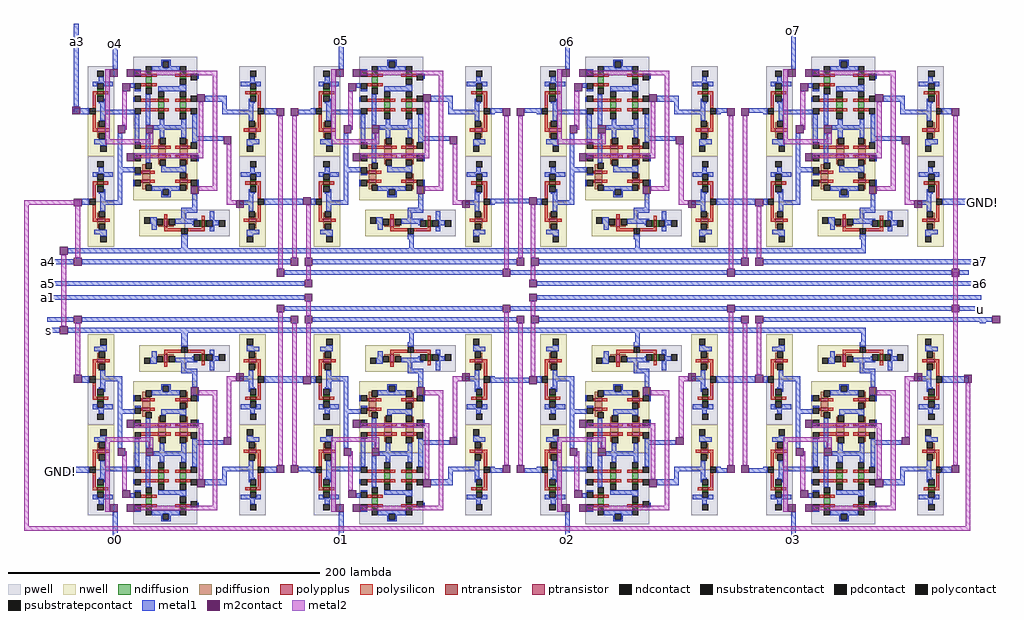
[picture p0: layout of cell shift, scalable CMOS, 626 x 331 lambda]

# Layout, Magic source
magic
tech scmos
<< metal1 >>
rect 3 275 6 328
rect 28 309 31 316
rect 173 311 176 318
rect 318 310 321 317
rect 463 311 466 324
rect 576 212 588 216
rect -1 181 3 184
rect -14 174 0 177
rect 577 174 585 177
rect -14 160 0 163
rect 577 160 585 163
rect -14 151 0 154
rect 577 151 585 154
rect 577 144 585 147
rect -14 137 0 140
rect 577 137 592 140
rect 584 136 588 137
rect -14 130 -6 133
rect -1 130 3 133
rect -6 40 3 44
rect 28 -3 31 5
rect 173 -3 176 5
rect 318 -3 321 5
rect 463 -3 466 5
<< m2contact >>
rect 2 270 7 275
rect -6 180 -1 185
rect 592 136 597 141
rect -6 129 -1 134
rect 574 98 579 103
<< metal2 >>
rect -29 212 7 215
rect -29 6 -26 212
rect 4 208 7 212
rect -5 134 -2 180
rect 567 140 570 169
rect 575 6 578 98
rect -29 3 578 6
use shift4  shift4_0
transform 1 0 10 0 1 7
box -10 -7 567 148
use shift4  shift4_1
transform 1 0 10 0 -1 307
box -10 -7 567 148
<< labels >>
rlabel metal1 585 213 587 214 3 GND!
rlabel metal1 -6 40 -5 42 1 GND!
rlabel metal1 -14 131 -13 132 7 s
rlabel metal1 -14 138 -13 139 7 a0
rlabel metal1 -14 152 -13 153 7 a1
rlabel metal1 584 144 585 146 3 u
rlabel metal1 -14 161 -13 162 7 a5
rlabel metal1 584 161 585 162 3 a6
rlabel metal1 584 175 585 176 3 a7
rlabel metal1 29 -3 30 -2 5 o0
rlabel metal1 174 -3 175 -2 5 o1
rlabel metal1 319 -3 320 -2 5 o2
rlabel metal1 464 -3 465 -2 5 o3
rlabel metal1 29 315 30 316 1 o4
rlabel metal1 174 317 175 318 5 o5
rlabel metal1 319 316 320 317 1 o6
rlabel metal1 584 151 585 154 3 a2
rlabel metal1 464 323 465 324 1 o7
rlabel metal1 585 136 586 137 1 a3
rlabel metal1 -14 175 -13 176 7 a4
rlabel metal1 4 315 6 318 1 a3
<< end >>

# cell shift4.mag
magic
tech scmos
<< metal1 >>
rect -10 144 141 147
rect 290 144 567 147
rect 128 137 268 140
rect 273 137 412 140
rect 417 137 556 140
rect 561 137 567 140
rect -10 130 -7 133
rect -2 130 132 133
rect 146 130 277 133
rect 291 130 421 133
rect 435 130 567 133
rect -10 123 501 126
rect 62 116 66 123
rect 208 116 211 123
rect 353 116 356 123
rect 498 116 501 123
rect -2 91 0 95
rect 118 91 140 95
rect 262 91 285 94
rect 408 91 430 95
rect 553 91 567 95
rect -7 33 2 37
rect 116 33 123 37
rect 137 34 146 37
rect 263 33 268 36
rect 282 33 293 36
rect 407 33 412 36
rect 426 33 438 36
rect 549 33 556 37
rect 18 -2 21 5
rect 163 -5 166 7
rect 308 -3 311 7
rect 453 -7 456 7
<< m2contact >>
rect 141 143 146 148
rect 285 143 290 148
rect 123 136 128 141
rect 268 136 273 141
rect 412 136 417 141
rect 556 136 561 141
rect -7 129 -2 134
rect 132 129 137 134
rect 141 129 146 134
rect 277 129 282 134
rect 286 129 291 134
rect 421 129 426 134
rect 430 129 435 134
rect -7 91 -2 96
rect 140 90 145 95
rect 285 90 290 95
rect 430 91 435 96
rect 123 33 128 38
rect 132 33 137 38
rect 268 33 273 38
rect 277 33 282 38
rect 412 33 417 38
rect 421 33 426 38
rect 556 33 561 38
<< metal2 >>
rect -6 96 -3 129
rect 124 38 127 136
rect 142 134 145 143
rect 133 38 136 129
rect 142 95 145 129
rect 269 38 272 136
rect 286 134 289 143
rect 278 38 281 129
rect 286 95 289 129
rect 413 38 416 136
rect 422 38 425 129
rect 431 96 434 129
rect 557 38 560 136
use shift_one  shift_one_0
transform 1 0 20 0 1 37
box -20 -37 98 85
use shift_one  shift_one_1
transform 1 0 165 0 1 37
box -20 -37 98 85
use shift_one  shift_one_2
transform 1 0 310 0 1 37
box -20 -37 98 85
use shift_one  shift_one_3
transform 1 0 455 0 1 37
box -20 -37 98 85
<< labels >>
rlabel metal1 -10 124 -9 125 3 s
rlabel metal1 19 -2 19 -2 1 o0
rlabel metal1 163 -5 166 -2 1 o1
rlabel metal1 309 -2 309 -2 1 o2
rlabel metal1 454 -6 455 -5 1 o3
rlabel metal1 561 137 567 140 3 u
rlabel metal1 -10 131 -9 132 7 a0
rlabel metal1 -10 145 -9 145 7 a1
rlabel metal1 566 145 567 145 3 a2
rlabel metal1 566 131 567 131 3 a3
rlabel metal1 566 92 567 93 7 ci
rlabel metal1 -7 34 -6 35 3 ci
<< end >>

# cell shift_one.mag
magic
tech scmos
<< nwell >>
rect 11 9 52 55
<< pwell >>
rect 11 -37 52 9
<< ntransistor >>
rect 27 -4 31 -2
rect 41 -4 45 -2
rect 27 -10 31 -8
rect 41 -10 45 -8
rect 19 -20 23 -18
rect 19 -26 23 -24
rect 41 -26 45 -24
<< ptransistor >>
rect 17 42 22 44
rect 41 42 46 44
rect 17 36 22 38
rect 27 26 32 28
rect 41 26 46 28
rect 27 20 32 22
rect 41 20 46 22
<< ndiffusion >>
rect 27 -2 31 -1
rect 41 -2 45 -1
rect 27 -8 31 -4
rect 41 -8 45 -4
rect 27 -11 31 -10
rect 41 -11 45 -10
rect 19 -18 23 -17
rect 19 -24 23 -20
rect 41 -24 45 -23
rect 19 -27 23 -26
rect 41 -27 45 -26
<< pdiffusion >>
rect 17 45 19 48
rect 45 45 46 48
rect 17 44 22 45
rect 41 44 46 45
rect 17 38 22 42
rect 41 41 46 42
rect 45 38 46 41
rect 17 35 22 36
rect 17 32 19 35
rect 27 29 28 32
rect 27 28 32 29
rect 45 29 46 32
rect 41 28 46 29
rect 27 22 32 26
rect 41 22 46 26
rect 27 19 32 20
rect 27 16 28 19
rect 41 19 46 20
rect 45 16 46 19
<< ndcontact >>
rect 27 -1 31 3
rect 41 -1 45 3
rect 19 -17 23 -13
rect 27 -15 31 -11
rect 41 -15 45 -11
rect 41 -23 45 -19
rect 19 -31 23 -27
rect 41 -31 45 -27
<< pdcontact >>
rect 19 45 23 49
rect 41 45 45 49
rect 41 37 45 41
rect 19 31 23 35
rect 28 29 32 33
rect 41 29 45 33
rect 28 15 32 19
rect 41 15 45 19
<< psubstratepcontact >>
rect 30 -34 34 -30
<< nsubstratencontact >>
rect 30 48 34 52
<< polysilicon >>
rect 16 42 17 44
rect 22 42 25 44
rect 38 42 41 44
rect 46 42 48 44
rect 16 36 17 38
rect 22 36 25 38
rect 16 26 27 28
rect 32 26 35 28
rect 38 26 39 28
rect 46 26 48 28
rect 16 20 27 22
rect 32 20 35 22
rect 38 20 41 22
rect 46 20 48 22
rect 16 -4 27 -2
rect 31 -4 34 -2
rect 38 -4 41 -2
rect 45 -4 48 -2
rect 16 -10 27 -8
rect 31 -10 34 -8
rect 38 -10 41 -8
rect 45 -10 48 -8
rect 16 -20 19 -18
rect 23 -20 26 -18
rect 16 -26 19 -24
rect 23 -26 26 -24
rect 38 -26 41 -24
rect 45 -26 48 -24
<< polycontact >>
rect 12 42 16 46
rect 48 42 52 46
rect 12 34 16 38
rect 12 26 16 30
rect 48 26 52 30
rect 12 18 16 22
rect 48 18 52 22
rect 12 -4 16 0
rect 48 -4 52 0
rect 12 -12 16 -8
rect 12 -20 16 -16
rect 48 -12 52 -8
rect 12 -28 16 -24
rect 48 -26 52 -22
<< polypplus >>
rect 39 26 41 28
<< metal1 >>
rect 42 77 46 80
rect 42 60 52 63
rect -20 54 -17 58
rect -1 55 4 58
rect 1 37 4 55
rect 29 52 35 53
rect 29 49 30 52
rect 11 42 12 46
rect 23 48 30 49
rect 34 49 35 52
rect 49 51 52 60
rect 95 54 98 58
rect 34 48 41 49
rect 23 46 41 48
rect 52 42 53 46
rect 12 38 16 39
rect 1 34 12 37
rect 1 12 4 34
rect 29 34 45 37
rect 29 33 32 34
rect 12 0 15 18
rect 19 12 22 31
rect 41 33 45 34
rect 52 26 53 30
rect 28 10 31 15
rect 42 10 45 15
rect 24 7 45 10
rect -20 -4 -17 0
rect -3 -3 12 0
rect 11 -11 12 -8
rect 19 -13 22 7
rect 28 3 31 7
rect 42 3 45 7
rect 49 17 52 18
rect 49 14 69 17
rect 49 0 52 14
rect 68 -3 80 0
rect 95 -1 98 0
rect 68 -8 71 -3
rect 96 -4 98 -1
rect 12 -16 16 -15
rect 9 -20 12 -17
rect 57 -12 71 -8
rect 27 -18 45 -15
rect 41 -19 45 -18
rect 52 -26 53 -23
rect 12 -29 16 -28
rect -2 -33 1 -29
rect 23 -30 41 -28
rect 23 -31 30 -30
rect 29 -34 30 -31
rect 34 -31 41 -30
rect 34 -34 35 -31
rect 29 -35 35 -34
<< m2contact >>
rect 77 55 82 60
rect 48 46 53 51
rect 7 25 12 30
rect 1 7 6 12
rect 19 7 24 12
rect 69 14 74 19
rect 4 -20 9 -15
rect 52 -13 57 -8
rect -4 -29 1 -24
rect 7 -29 12 -24
<< metal2 >>
rect 71 55 77 58
rect 53 46 65 49
rect 12 25 56 28
rect -7 16 24 19
rect -7 -29 -4 16
rect 21 12 24 16
rect 6 7 7 10
rect 4 -15 7 7
rect 53 -8 56 25
rect 62 -25 65 46
rect 71 19 74 55
rect 12 -28 65 -25
use inv2  inv2_1
transform 0 -1 39 -1 0 70
box -8 -34 9 24
use inv2  inv2_3
transform -1 0 88 0 1 61
box -8 -34 9 24
use inv2  inv2_2
transform -1 0 88 0 1 3
box -8 -34 9 24
use inv2  inv2_0
transform 1 0 -10 0 1 61
box -8 -34 9 24
use inv2  inv2_4
transform 1 0 -10 0 1 3
box -8 -34 9 24
<< labels >>
rlabel metal1 11 42 12 45 7 s
rlabel metal1 11 -11 12 -8 7 u
rlabel metal1 52 -26 53 -23 3 s
rlabel metal1 52 26 53 29 3 u
rlabel metal1 42 77 46 80 1 s
rlabel metal1 96 -4 98 0 3 u
rlabel metal1 95 54 98 58 3 ad
rlabel metal1 -20 54 -17 58 7 a
rlabel metal1 -20 -4 -17 0 7 au
rlabel metal1 -2 -33 1 -29 5 o
rlabel metal1 28 -30 37 -29 1 GND!
rlabel nwell 23 46 41 49 1 Vdd!
<< end >>

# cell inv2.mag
magic
tech scmos
<< nwell >>
rect -8 -5 9 24
<< pwell >>
rect -8 -34 9 -5
<< ntransistor >>
rect -2 -18 2 -16
<< ptransistor >>
rect -2 6 3 8
<< ndiffusion >>
rect -2 -16 2 -15
rect -2 -19 2 -18
<< pdiffusion >>
rect -2 9 -1 12
rect -2 8 3 9
rect -2 5 3 6
rect -2 2 -1 5
<< ndcontact >>
rect -2 -15 2 -11
rect -2 -23 2 -19
<< pdcontact >>
rect -1 9 3 13
rect -1 1 3 5
<< psubstratepcontact >>
rect -2 -31 2 -27
<< nsubstratencontact >>
rect 0 17 4 21
<< polysilicon >>
rect -5 6 -2 8
rect 3 6 6 8
rect -5 -3 -3 6
rect -5 -16 -3 -7
rect -5 -18 -2 -16
rect 2 -18 5 -16
<< polycontact >>
rect -7 -7 -3 -3
<< metal1 >>
rect 0 16 4 17
rect -4 13 4 16
rect 0 -3 3 1
rect -8 -7 -7 -4
rect 0 -6 9 -3
rect 0 -10 3 -6
rect -1 -11 3 -10
rect 2 -13 3 -11
rect -5 -23 -2 -21
rect 2 -23 8 -21
rect -5 -24 8 -23
rect -1 -27 2 -24
<< labels >>
rlabel metal1 6 -5 6 -5 3 out
rlabel metal1 -1 14 -1 14 1 !Vdd
rlabel metal1 -4 -23 -4 -23 5 !GND
rlabel metal1 -8 -6 -8 -6 7 in
<< end >>
